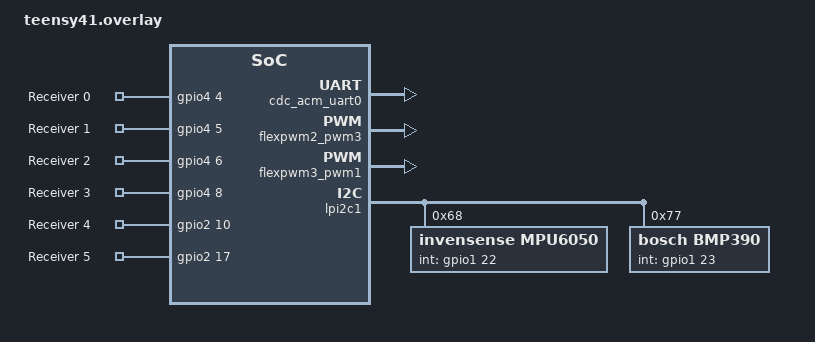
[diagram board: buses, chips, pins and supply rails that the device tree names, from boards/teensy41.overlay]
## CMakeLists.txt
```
# SPDX-License-Identifier: Apache-2.0

cmake_minimum_required(VERSION 3.20.0)

find_package(Zephyr REQUIRED HINTS $ENV{ZEPHYR_BASE})
project(flysky_fs16x_rc)

include(${ZEPHYR_BASE}/samples/subsys/usb/common/common.cmake)

#FILE(GLOB app_sources src/*.c)

#target_sources(app PRIVATE ${app_sources})

target_include_directories(app 
	PRIVATE 
		../../ext/ZephyrMPU6050/src
)

target_sources(app 
	PRIVATE 
	#src/test_pwm_loopback.c
		src/blinky.c
		#src/receiver.cpp
		src/flysky_fs16x.cpp
		src/main.cpp
		../../ext/ZephyrMPU6050/src/console.cpp
)
```

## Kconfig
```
# Copyright (c) 2023 Nordic Semiconductor ASA
# SPDX-License-Identifier: Apache-2.0

# Source common USB sample options used to initialize new experimental USB
# device stack. The scope of these options is limited to USB samples in project
# tree, you cannot use them in your own application.
#source "samples/subsys/usb/common/Kconfig.sample_usbd"


config TEENSY41
	bool "If you're using a Teensy 4.1"
	default n

source "Kconfig.zephyr"
```

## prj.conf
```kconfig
#CONFIG_ZTEST=y
#CONFIG_TEST_USERSPACE=y
CONFIG_CPP=y

CONFIG_TIMING_FUNCTIONS=y
CONFIG_CBPRINTF_FP_SUPPORT=y
CONFIG_ASSERT=y
#CONFIG_PWM=y
CONFIG_GPIO=y
#CONFIG_PWM_CAPTURE=y
```

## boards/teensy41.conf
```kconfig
CONFIG_USB_DEVICE_STACK=y
CONFIG_USB_DEVICE_PRODUCT="Zephyr USB console sample"
CONFIG_USB_DEVICE_PID=0x0004
CONFIG_USB_DEVICE_INITIALIZE_AT_BOOT=n

CONFIG_UART_LINE_CTRL=y

CONFIG_TEENSY41=y
```

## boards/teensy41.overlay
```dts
/ {
	aliases {
		receiver0 = &receiver0;
		receiver1 = &receiver1;
		receiver2 = &receiver2;
		receiver3 = &receiver3;
		receiver4 = &receiver4;
		receiver5 = &receiver5;
/*
		receiver6 = &receiver6;
		receiver7 = &receiver7;
		receiver8 = &receiver8;
		receiver9 = &receiver9;
//*/
//		gnss = &gnss;
	};

	chosen {
		zephyr,console = &cdc_acm_uart0;
	};
	
	receiver {
		compatible = "gpio-keys";
		

		receiver0: receiver_0 {
			gpios = <&gpio4 4 GPIO_ACTIVE_HIGH>; // pin 2
			label = "Receiver 0";
		};

		receiver1: receiver_1 {
			gpios = <&gpio4 5 GPIO_ACTIVE_HIGH>; // pin 3
			label = "Receiver 1";
		};

		receiver2: receiver_2 {
			gpios = <&gpio4 6 GPIO_ACTIVE_HIGH>; // pin 4
			label = "Receiver 2";
		};

		receiver3: receiver_3 {
			gpios = <&gpio4 8 GPIO_ACTIVE_HIGH>; // pin 5
			label = "Receiver 3";
		};

		receiver4: receiver_4 {
			gpios = <&gpio2 10 GPIO_ACTIVE_HIGH>; // pin 6
			label = "Receiver 4";
		};

		receiver5: receiver_5 {
			gpios = <&gpio2 17 GPIO_ACTIVE_HIGH>; // pin 7
			label = "Receiver 5";
		};

/*
		receiver6: receiver_6 {
		/delete-node/ lpuart4;
			gpios = <&gpio2 16 GPIO_ACTIVE_HIGH>; // pin 8
			label = "Receiver 6";
		};

		receiver7: receiver_7 {
			gpios = <&gpio2 11 GPIO_ACTIVE_HIGH>; // pin 9
			label = "Receiver 7";
		};
		
		receiver8: receiver_8 {
			gpios = <&gpio2 0 GPIO_ACTIVE_HIGH>; // pin 10
			label = "Receiver 8";
		};
		
		receiver9: receiver_9 {
			gpios = <&gpio2 2 GPIO_ACTIVE_HIGH>; // pin 11
			label = "Receiver 9";
		};
//*/
	};

	servos {
		servo0: servo_0 {
			compatible = "pwm-servo";
			pwms = <&flexpwm2_pwm3 0 PWM_MSEC(20) PWM_POLARITY_NORMAL>;
			min-pulse = <PWM_USEC(700)>;
			max-pulse = <PWM_USEC(9000)>;
		};

		servo1: servo_1 {
			compatible = "pwm-servo";
			pwms = <&flexpwm2_pwm3 1 PWM_MSEC(20) PWM_POLARITY_NORMAL>;
			min-pulse = <PWM_USEC(700)>;
			max-pulse = <PWM_USEC(9000)>;
		};

		servo2: servo_2 {
			compatible = "pwm-servo";
			pwms = <&flexpwm3_pwm1 1 PWM_MSEC(20) PWM_POLARITY_NORMAL>; 
			min-pulse = <PWM_USEC(700)>;
			max-pulse = <PWM_USEC(9000)>;
		};

		servo3: servo_3 {
			compatible = "pwm-servo";
			pwms = <&flexpwm3_pwm1 0 PWM_MSEC(20) PWM_POLARITY_NORMAL>;
			min-pulse = <PWM_USEC(700)>;
			max-pulse = <PWM_USEC(9000)>;
		};
	};
};

&zephyr_udc0 {
	cdc_acm_uart0: cdc_acm_uart0 {
		compatible = "zephyr,cdc-acm-uart";
	};
};

&pinctrl {
	pinmux_flexpwm3_ch1: pinmux_flexpwm3_ch1 {
		group0 {
			pinmux = <&iomuxc_gpio_emc_32_flexpwm3_pwmb1>, 
							 <&iomuxc_gpio_emc_31_flexpwm3_pwma1>;
			drive-strength = "r0-7";
			slew-rate = "fast";
			nxp,speed = "200-mhz";
		};
	};
	pinmux_flexpwm2_ch3: pinmux_flexpwm2_ch3 {
		group0 {
			pinmux = <&iomuxc_gpio_b1_02_flexpwm2_pwma3>,
							 <&iomuxc_gpio_b1_03_flexpwm2_pwmb3>;
			drive-strength = "r0-7";
			slew-rate = "fast";
			nxp,speed = "200-mhz";
		};
	};
};

&flexpwm2_pwm3 {
	status = "okay";
	pinctrl-0 = <&pinmux_flexpwm2_ch3>;
	pinctrl-names = "default";
	nxp,prescaler = <64>;
};

&flexpwm3_pwm1 {
	status = "okay";
	pinctrl-0 = <&pinmux_flexpwm3_ch1>;
	pinctrl-names = "default";
	nxp,prescaler = <64>;
};

/*
&lpuart8 {
  status = "okay";
  current-speed = <115200>;
  pinctrl-0 = <&pinmux_lpuart8>;
  pinctrl-1 = <&pinmux_lpuart8_sleep>;
  pinctrl-names = "default", "sleep";

  gnss: u_blox_m10 {
    status = "okay";
    compatible = "u-blox,m8";
    uart-baudrate = <115200>;
  };
};

&lpuart8 {
	status = "okay";
	current-speed = <115200>;

	gnss: u-blox,m8 {
		status = "okay";
		compatible = "u-blox,m8";
		uart-baudrate = <115200>;
	};
};
//*/

&lpi2c1 {
	status = "okay";
	mpu6050@68 {
		compatible = "invensense,mpu6050";
		reg = <0x68>;
		status = "okay";
		int-gpios = <&gpio1 22 GPIO_ACTIVE_HIGH>;
	};
	
	bmp390@77 {
		compatible = "bosch,bmp390";
		reg = <0x77>;
		status = "okay";
		int-gpios = <&gpio1 23 GPIO_ACTIVE_HIGH>;
		odr = "200";
		osr-press = <1>;
		osr-temp = <1>;
		iir-filter = <3>;

		label = "BMP390";
	};
};
```

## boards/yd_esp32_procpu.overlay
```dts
/w2	q*
 * Copyright (c) 2021 Espressif Systems (Shanghai) Co., Ltd.
 *
 * SPDX-License-Identifier: Apache-2.0
 */

#include <zephyr/dt-bindings/pwm/pwm.h>

/ {
	pwm_loopback_0 {
		compatible = "test-pwm-loopback";
		/* first index must be a 32-Bit timer */
		pwms = <&mcpwm0 0 0 PWM_POLARITY_NORMAL>,
		       <&mcpwm0 6 0 PWM_POLARITY_NORMAL>;
	};
};

&pinctrl {
	mcpwm0_default: mcpwm0_default {
		group1 {
			pinmux = <MCPWM0_OUT0A_GPIO2>;
			output-enable;
		};
		group2 {
			pinmux = <MCPWM0_CAP0_GPIO4>;
		};
	};
};

&mcpwm0 {
	pinctrl-0 = <&mcpwm0_default>;
	pinctrl-names = "default";
	prescale = <255>;
	prescale-timer0 = <103>;
	status = "okay";
};
```

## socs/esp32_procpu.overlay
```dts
/*
 * Copyright (c) 2021 Espressif Systems (Shanghai) Co., Ltd.
 *
 * SPDX-License-Identifier: Apache-2.0
 */

#include <zephyr/dt-bindings/pwm/pwm.h>
#include <dt-bindings/pinctrl/esp32-pinctrl.h>

/ {
	aliases {
		led0 = &led0;
		receiver0 = &receiver0;
		receiver1 = &receiver1;
		receiver2 = &receiver2;
		receiver3 = &receiver3;
		receiver4 = &receiver4;
		receiver5 = &receiver5;
	};

	pwm_loopback_0 {
		compatible = "test-pwm-loopback";
		/* first index must be a 32-Bit timer */
		pwms = <&mcpwm0 0 0 PWM_POLARITY_NORMAL>,
		       <&mcpwm0 6 0 PWM_POLARITY_NORMAL>;
	};

	leds {
		compatible = "gpio-leds";
		led0: led_0 {
			gpios = <&gpio0 2 GPIO_ACTIVE_HIGH>;
			//gpios = <&gpio0 15 GPIO_ACTIVE_HIGH>;
			label = "LED 0";
		};
	};

	receiver {
		compatible = "gpio-keys";

		receiver0: receiver_0 {
			gpios = <&gpio1 7 GPIO_ACTIVE_HIGH>; // pin 39
      zephyr,code = <INPUT_KEY_0>;
			label = "Receiver 0";
		};

		receiver1: receiver_1 {
			gpios = <&gpio1 3 GPIO_ACTIVE_HIGH>; // pint 35
      zephyr,code = <INPUT_KEY_1>;
			label = "Receiver 1";
		};

		receiver2: receiver_2 {
			gpios = <&gpio1 2  GPIO_ACTIVE_HIGH>; // pin 34
      zephyr,code = <INPUT_KEY_2>;
			label = "Receiver 2";
		};

		receiver3: receiver_3 {
			gpios = <&gpio1 4 GPIO_ACTIVE_HIGH>; // pin 36
      zephyr,code = <INPUT_KEY_3>;
			label = "Receiver 3";
		};

		receiver4: receiver_4 {
			gpios = <&gpio1 0 GPIO_ACTIVE_HIGH>; // pin 32
      zephyr,code = <INPUT_KEY_4>;
			label = "Receiver 3";
		};

		receiver5: receiver_5 {
			gpios = <&gpio1 1 GPIO_ACTIVE_HIGH>; // pin 33
      zephyr,code = <INPUT_KEY_5>;
			label = "Receiver 3";
		};
	};
};

&pinctrl {
	mcpwm0_default: mcpwm0_default {
		group1 {
			pinmux = <MCPWM0_OUT0A_GPIO2>;
			input-enable;
		};
		group2 {
			pinmux = <MCPWM0_CAP0_GPIO36>;
			//pinmux = <MCPWM0_CAP0_GPIO2>;
			output-enable;
		};
	};
};

&mcpwm0 {
	pinctrl-0 = <&mcpwm0_default>;
	pinctrl-names = "default";
	prescale = <255>;
	prescale-timer0 = <103>;
	status = "okay";
};
```

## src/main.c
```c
/*
 * Copyright (c) 2020-2021 Vestas Wind Systems A/S
 *
 * SPDX-License-Identifier: Apache-2.0
 */

#include <zephyr/kernel.h>
//#include <zephyr/ztest.h>

#include "flysky_fs16x_rc.h"
#include "blinky.h"

static void *pwm_loopback_setup(void)
{
	struct test_pwm in;
	struct test_pwm out;

	get_test_pwms(&out, &in);

	k_msleep(3000);
	printf("\n");
	
	k_object_access_grant(out.dev, k_current_get());
	k_object_access_grant(in.dev, k_current_get());

	return NULL;
}

static void pwm_loopback_after(void *f)
{
	struct test_pwm in;
	struct test_pwm out;
	int err;

	ARG_UNUSED(f);

	get_test_pwms(&out, &in);

	err = pwm_disable_capture(in.dev, in.pwm);
//	zassert_equal(err, 0, "failed to disable pwm capture (err %d)", err);
}

int main()
{
	pwm_loopback_setup();
//	receiverInit();
//	gpioInit();
	
	printf("flysky\n");

	//sample_flysky();
//*
	while(1)
	{
		sample_flysky();
		//printPulse();
		//printf(".");

		k_msleep(50);
	}
//*/

	pwm_loopback_after(NULL);
}

//ZTEST_SUITE(pwm_loopback, NULL, pwm_loopback_setup, NULL, pwm_loopback_after, NULL);
```

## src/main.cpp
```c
/*
 * Copyright (c) 2020-2021 Vestas Wind Systems A/S
 *
 * SPDX-License-Identifier: Apache-2.0
 */

#include <zephyr/kernel.h>
#include "blinky.h"
#include "flysky_fs16x.h"

#ifdef CONFIG_TEENSY41
#include "console.h"
#endif

int main()
{
#ifdef CONFIG_TEENSY41
	startConsole();
#endif

	printf("flysky\n");
	
	FlySky flysky = FlySky();

	for(uint64_t i = 0;;++i)
	{
		if(i % 20 == 0)
		{
			printf("\n*%llu*", i/20);
		}
		
		flysky.printPulses();

		k_msleep(50);
	}

	return 0;
}
```

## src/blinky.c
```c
#include "blinky.h"

static const struct gpio_dt_spec led = GPIO_DT_SPEC_GET(LED0_NODE, gpios);
int blinky(void)
{
  int ret;
	bool led_state = true;

	if (!gpio_is_ready_dt(&led)) 
  {
		return 0;
	}

	ret = gpio_pin_configure_dt(&led, GPIO_OUTPUT_ACTIVE);
	if (ret < 0) 
  {
		return 1;
	}

  while (1) 
  {
    ret = gpio_pin_toggle_dt(&led);
    if (ret < 0) 
    {
      return 1;
    }

    led_state = !led_state;
    //printk("LED state: %s\n", led_state ? "ON" : "OFF");
    k_msleep(SLEEP_TIME_MS);
  }
}

void blinky_entry(void *unused0, void *unused1, void *unused2)
{
  (void) unused0;
  (void) unused1;
  (void) unused2;

  if(blinky())
  {
    printk("ERROR: blinky thread exited!");
  }
}

K_THREAD_STACK_DEFINE(blinky_stack_area, BLINKY_STACK_SIZE);
K_THREAD_DEFINE(
  blinky_tid, BLINKY_STACK_SIZE,
  blinky_entry, NULL, NULL, NULL,
  BLINKY_PRIORITY, 0, 0
);

int startBlinkyThread(void)
{
  k_thread_start(blinky_tid);

  return 0;
}
```

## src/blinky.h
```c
#ifndef BLINKY_H
#define BLINKY_H

#pragma once
#ifdef __cplusplus
extern "C"
{
#endif

#include <stdio.h>
#include <zephyr/kernel.h>
#include <zephyr/drivers/gpio.h>

#define BLINKY_STACK_SIZE 500
#define BLINKY_PRIORITY 5

/* 1000 msec = 1 sec */
#define SLEEP_TIME_MS   1000

#define LED0_NODE DT_ALIAS(led0)

extern void blinky_entry(void *, void *, void *);
extern int startBlinkyThread(void);

#ifdef __cplusplus
}
#endif

#endif // BLINKY_H
```

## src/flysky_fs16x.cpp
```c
#include "flysky_fs16x.h"
#include <string.h>

// Reciever

Receiver::Receiver(
		const gpio_dt_spec receiver,
		void (*receiver_isr)(const device *, gpio_callback *, uint32_t)
	) :
		receiver(receiver),
		receiver_data({0}),
		pulse_time_us(0),
		start_time(0),
		stop_time(0)
{
	k_mutex_init(&receiver_mutex);
	
	int ret = 0;

	ret = gpio_is_ready_dt(&receiver);
	__ASSERT(ret != 0, "Error: device %s is not ready\n", receiver.port->name);

	ret = gpio_pin_configure_dt(&receiver, GPIO_INPUT);
	__ASSERT(ret == 0, "Error %d: failed to configure %s pin %d\n", 
				ret, receiver.port->name, receiver.pin);

	ret = gpio_pin_interrupt_configure_dt(&receiver, GPIO_INT_EDGE_BOTH);
	__ASSERT(ret == 0, "Error %d: failed to configure interrupt %s pin %d\n", 
					ret, receiver.port->name, receiver.pin);
	
	gpio_init_callback(&receiver_data, receiver_isr, BIT(receiver.pin));
	gpio_add_callback(receiver.port, &receiver_data);
	
	timing_init();
	timing_start();
}

Receiver::~Receiver()
{

}

void Receiver::printPulse(void)
{
	uint64_t time_us = getMutexPulseTime();

	printf("\n(%llu)\n", time_us);
}

const gpio_dt_spec *Receiver::getReceiver(void)
{

	return &receiver;
}

uint64_t Receiver::getMutexPulseTime(void)
{
	k_mutex_lock(&receiver_mutex, K_FOREVER);
	uint64_t time_us = pulse_time_us;
	k_mutex_unlock(&receiver_mutex);

	return time_us;
}

uint64_t Receiver::getPulseTime(void)
{
	return pulse_time_us;
}

void Receiver::setPulseTimeIsr(uint64_t time_us)
{
	pulse_time_us = time_us;
}

int Receiver::handleIsr(void)
{
	int pin_state = gpio_pin_get_dt(getReceiver());
	
	switch(pin_state)
	{
		case 0:
			{
				stop_time = timing_counter_get();
				uint64_t total_cycles = timing_cycles_get(&start_time, &stop_time);
				uint64_t total_ns = timing_cycles_to_ns(total_cycles);
				setPulseTimeIsr(total_ns/1000);
			}
			break;
		case 1:
				start_time = timing_counter_get();
			
			break;
		default:

			break;
	}

	return 0;
}

// FlySky

FlySky *FlySky::pThis = NULL;
flysky_data_t FlySky::flysky_data = {0};

FlySky::FlySky() :
	throttle(
		Receiver(
			GPIO_DT_SPEC_GET_OR(THROTTLE_NODE, gpios, {0}),
			&FlySky::throttle_isr
		)
	),
	roll(
		Receiver(
			GPIO_DT_SPEC_GET_OR(ROLL_NODE, gpios, {0}),
			&FlySky::roll_isr
		)
	),
	pitch(
		Receiver(
			GPIO_DT_SPEC_GET_OR(PITCH_NODE, gpios, {0}),
			&FlySky::pitch_isr
		)
	),
	yaw(
		Receiver(
			GPIO_DT_SPEC_GET_OR(YAW_NODE, gpios, {0}),
			&FlySky::yaw_isr
		)
	),
	vra(
		Receiver(
			GPIO_DT_SPEC_GET_OR(VRA_NODE, gpios, {0}),
			&FlySky::vra_isr
		)
	),
	vrb(
		Receiver(
			GPIO_DT_SPEC_GET_OR(VRB_NODE, gpios, {0}),
			&FlySky::vrb_isr
		)
	) /*,
	r6(
		Receiver(
			GPIO_DT_SPEC_GET_OR(R6_NODE, gpios, {0}),
			&FlySky::r6_isr
		)
	),
	r7(
		Receiver(
			GPIO_DT_SPEC_GET_OR(R7_NODE, gpios, {0}),
			&FlySky::r7_isr
		)
	),
	r8(
		Receiver(
			GPIO_DT_SPEC_GET_OR(R8_NODE, gpios, {0}),
			&FlySky::r8_isr
		)
	),
	r9(
		Receiver(
			GPIO_DT_SPEC_GET_OR(R9_NODE, gpios, {0}),
			&FlySky::r9_isr
		)
	)
//*/
{
	pThis = this; 

	k_mutex_init(&flysky_mutex);
}

FlySky::~FlySky()
{

}

void FlySky::capturePulses(flysky_data_t *pflysky_data)
{
	k_mutex_lock(&flysky_mutex, K_FOREVER);
	pflysky_data->throttle_pulse_time_us = throttle.getPulseTime();
	pflysky_data->roll_pulse_time_us = roll.getPulseTime();
	pflysky_data->pitch_pulse_time_us = pitch.getPulseTime();
	pflysky_data->yaw_pulse_time_us = yaw.getPulseTime();
	pflysky_data->vra_pulse_time_us = vra.getPulseTime();
	pflysky_data->vrb_pulse_time_us = vrb.getPulseTime();
/*
	pflysky_data->r6_pulse_time_us = r6.getPulseTime();
	pflysky_data->r7_pulse_time_us = r7.getPulseTime();
	pflysky_data->r8_pulse_time_us = r8.getPulseTime();
	pflysky_data->r9_pulse_time_us = r9.getPulseTime();
//*/
	k_mutex_unlock(&flysky_mutex);
}

void FlySky::printPulses(void)
{
	flysky_data_t temp_flysky_data = {0};
	capturePulses(&temp_flysky_data);
	printPulses(&temp_flysky_data);
}

void FlySky::printPulses(flysky_data_t *pflysky_data)
{
	printf(
		"\n(T: %4llu)(Y: %4llu)(P: %4llu)(R: %4llu)(A: %4llu)(B: %4llu)", //(0: %4llu)", // (0: %4llu)(0: %4llu)(0: %4llu)", 
		pflysky_data->throttle_pulse_time_us, 
		pflysky_data->yaw_pulse_time_us,
		pflysky_data->pitch_pulse_time_us,
		pflysky_data->roll_pulse_time_us,
		pflysky_data->vra_pulse_time_us,
		pflysky_data->vrb_pulse_time_us/*,
		pflysky_data->r6_pulse_time_us,
		pflysky_data->r7_pulse_time_us,
		pflysky_data->r8_pulse_time_us,
		pflysky_data->r9_pulse_time_us
//*/
	);
}

Receiver *FlySky::getThrottle(void)
{
	return &throttle;
}

Receiver *FlySky::getRoll(void)
{
	return &roll;
}

Receiver *FlySky::getPitch(void)
{
	return &pitch;
}

Receiver *FlySky::getYaw(void)
{
	return &yaw;
}

Receiver *FlySky::getVrA(void)
{
	return &vra;
}

Receiver *FlySky::getVrB(void)
{
	return &vrb;
}

/*
Receiver *FlySky::getR6(void)
{
	return &r6;
}

Receiver *FlySky::getR7(void)
{
	return &r7;
}

Receiver *FlySky::getR8(void)
{
	return &r8;
}

Receiver *FlySky::getR9(void)
{
	return &r9;
}
//*/

void FlySky::throttle_isr(const struct device *dev, struct gpio_callback *cb, uint32_t pins)
{
	pThis->getThrottle()->handleIsr();
}

void FlySky::roll_isr(const struct device *dev, struct gpio_callback *cb, uint32_t pins)
{
	pThis->getRoll()->handleIsr();
}

void FlySky::pitch_isr(const struct device *dev, struct gpio_callback *cb, uint32_t pins)
{
	pThis->getPitch()->handleIsr();
}

void FlySky::yaw_isr(const struct device *dev, struct gpio_callback *cb, uint32_t pins)
{
	pThis->getYaw()->handleIsr();
}

void FlySky::vra_isr(const struct device *dev, struct gpio_callback *cb, uint32_t pins)
{
	pThis->getVrA()->handleIsr();
}

void FlySky::vrb_isr(const struct device *dev, struct gpio_callback *cb, uint32_t pins)
{
	pThis->getVrB()->handleIsr();
}

/*
void FlySky::r6_isr(const struct device *dev, struct gpio_callback *cb, uint32_t pins)
{
	pThis->getR6()->handleIsr();
}

void FlySky::r7_isr(const struct device *dev, struct gpio_callback *cb, uint32_t pins)
{
	pThis->getR7()->handleIsr();
}

void FlySky::r8_isr(const struct device *dev, struct gpio_callback *cb, uint32_t pins)
{
	pThis->getR8()->handleIsr();
}

void FlySky::r9_isr(const struct device *dev, struct gpio_callback *cb, uint32_t pins)
{
	pThis->getR9()->handleIsr();
}
//*/
```

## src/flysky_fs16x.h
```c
#ifndef _FLYSKY_FS16X_H_
#define _FLYSKY_FS16X_H_

#include <zephyr/kernel.h>
#include <zephyr/drivers/gpio.h>
#include <zephyr/drivers/pwm.h>
#include <zephyr/timing/timing.h>

#define ROLL_NODE					DT_ALIAS(receiver0)
#define PITCH_NODE				DT_ALIAS(receiver1) 
#define THROTTLE_NODE			DT_ALIAS(receiver2)
#define YAW_NODE					DT_ALIAS(receiver3)  
#define VRA_NODE					DT_ALIAS(receiver4)
#define VRB_NODE					DT_ALIAS(receiver5)
/*
#define R6_NODE						DT_ALIAS(receiver6)
#define R7_NODE						DT_ALIAS(receiver7)
#define R8_NODE						DT_ALIAS(receiver8)
#define R9_NODE						DT_ALIAS(receiver9)
//*/
#define LED0_NODE					DT_ALIAS(led0)

typedef void receiver_isr_t(const struct device *, struct gpio_callback *, uint32_t);

class Receiver
{
	public:
		Receiver(
			const gpio_dt_spec, 
			void (*)(const device *, gpio_callback *, uint32_t)
		);
		~Receiver();

		void printPulse(void);
		
		const gpio_dt_spec *getReceiver(void);
		uint64_t getMutexPulseTime(void);
		uint64_t getPulseTime(void);
		
		void setPulseTimeIsr(uint64_t);
		int handleIsr(void);
	private:
		const gpio_dt_spec receiver;
		gpio_callback receiver_data;
		uint64_t pulse_time_us;
		timing_t start_time;
		timing_t stop_time;

		k_mutex receiver_mutex;
};

struct flysky_data_t
{
	uint64_t throttle_pulse_time_us;
	uint64_t roll_pulse_time_us;
	uint64_t pitch_pulse_time_us;
	uint64_t yaw_pulse_time_us;
	uint64_t vra_pulse_time_us;
	uint64_t vrb_pulse_time_us;
/*
	uint64_t r6_pulse_time_us;
	uint64_t r7_pulse_time_us;
	uint64_t r8_pulse_time_us;
	uint64_t r9_pulse_time_us;
//*/
};

class FlySky {
	public:
		FlySky();
		~FlySky();

		void printPulses(void);
		void printPulses(flysky_data_t *);
		void capturePulses(flysky_data_t *);
		
		Receiver *getThrottle(void);
		Receiver *getRoll(void);
		Receiver *getPitch(void);
		Receiver *getYaw(void);
		Receiver *getVrA(void);
		Receiver *getVrB(void);
/*
		Receiver *getR6(void);
		Receiver *getR7(void);
		Receiver *getR8(void);
		Receiver *getR9(void);
//*/
	private:
		Receiver throttle;
		Receiver roll;
		Receiver pitch;
		Receiver yaw;
		Receiver vra;
		Receiver vrb;
/*
		Receiver r6;
		Receiver r7;
		Receiver r8;
		Receiver r9;
//*/

		static FlySky *pThis;
		static flysky_data_t flysky_data;
		static receiver_isr_t throttle_isr;
		static receiver_isr_t roll_isr;
		static receiver_isr_t pitch_isr;
		static receiver_isr_t yaw_isr;
		static receiver_isr_t vra_isr;
		static receiver_isr_t vrb_isr;
/*
		static receiver_isr_t r6_isr;
		static receiver_isr_t r7_isr;
		static receiver_isr_t r8_isr;
		static receiver_isr_t r9_isr;
//*/
		
		k_mutex flysky_mutex;
};

#endif
```

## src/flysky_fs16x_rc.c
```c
/*
 * Copyright (c) 2020-2021 Vestas Wind Systems A/S
 *
 * SPDX-License-Identifier: Apache-2.0
 */

#include "flysky_fs16x_rc.h"
#include <string.h>
//#include <zephyr/kernel.h>
//#include <zephyr/drivers/gpio.h>
//#include <zephyr/drivers/pwm.h>
//#include <zephyr/ztest.h>


#define TEST_PWM_PERIOD_NSEC 100000000
#define TEST_PWM_PULSE_NSEC   15000000
#define TEST_PWM_PERIOD_USEC    100000
#define TEST_PWM_PULSE_USEC      75000

#define RECEIVER_NODE	DT_ALIAS(receiver0) //

static struct gpio_callback receiver_data = {0};
static uint64_t time_us = 0; 
static const struct gpio_dt_spec receiver = GPIO_DT_SPEC_GET_OR(RECEIVER_NODE, gpios, {0});

K_MUTEX_DEFINE(time_mutex);

enum test_pwm_unit {
	TEST_PWM_UNIT_NSEC,
	TEST_PWM_UNIT_USEC,
};

void get_test_pwms(struct test_pwm *out, struct test_pwm *in)
{
	/* PWM generator device */
	out->dev = DEVICE_DT_GET(PWM_LOOPBACK_OUT_CTLR);
	out->pwm = PWM_LOOPBACK_OUT_CHANNEL;
	out->flags = PWM_LOOPBACK_OUT_FLAGS;
//	zassert_true(device_is_ready(out->dev), "pwm loopback output device is not ready");

	/* PWM capture device */
	in->dev = DEVICE_DT_GET(PWM_LOOPBACK_IN_CTLR);
	in->pwm = PWM_LOOPBACK_IN_CHANNEL;
	in->flags = PWM_LOOPBACK_IN_FLAGS;
//	zassert_true(device_is_ready(in->dev), "pwm loopback input device is not ready");
}

static void capture(uint32_t period, uint32_t pulse, enum test_pwm_unit unit, pwm_flags_t flags)
{
	struct test_pwm in;
	struct test_pwm out;
	uint64_t period_capture = 0;
	uint64_t pulse_capture = 0;
	int err = 0;

	get_test_pwms(&out, &in);

	err = pwm_set(out.dev, out.pwm, 
					PWM_USEC(period), PWM_USEC(pulse), 
					out.flags ^= (flags & PWM_POLARITY_MASK));
	
	err = pwm_capture_usec(in.dev, in.pwm, flags, &period_capture,
						 &pulse_capture, K_USEC(period * 10));

	pwm_disable_capture(in.dev, in.pwm);

	if (err == -ENOTSUP) {
//		TC_PRINT("capture type not supported\n");
//		ztest_test_skip();
	}

//	zassert_equal(err, 0, "failed to capture pwm (err %d)", err);

	if (flags & PWM_CAPTURE_TYPE_PERIOD) {
//		zassert_within(period_capture, period, period / 100,
//			       "period capture off by more than 1%");
	}

	if (flags & PWM_CAPTURE_TYPE_PULSE) {
//		zassert_within(pulse_capture, pulse, pulse / 100,
//			       "pulse capture off by more than 1%");
	}
	printf("(%llu) ", pulse_capture);
	//time_us = pulse_capture; 
}
//*/

void printPulse(void)
{
	k_mutex_lock(&time_mutex, K_FOREVER);
	printf("(%llu) ", time_us);
	k_mutex_unlock(&time_mutex);
}

//*
int sample_flysky(void)
{
	capture(TEST_PWM_PERIOD_USEC, TEST_PWM_PULSE_USEC,
		     TEST_PWM_UNIT_USEC, PWM_CAPTURE_TYPE_PULSE | PWM_POLARITY_NORMAL);
	return 0;
}
//*/

static struct test_context {
	uint32_t last_edge_time;
	uint32_t high_time;
	uint32_t low_time;
	bool sampling_done;
	uint8_t skip_cnt;
} ctx;

static void setup_edge_detect(void)
{
	ctx.last_edge_time = 0;
	ctx.high_time = 0;
	ctx.low_time = 0;
	ctx.sampling_done = false;
	ctx.skip_cnt = 0;
}

//*
static void receiver_cb(const struct device *dev, struct gpio_callback *cb, uint32_t pins)
{
//	printf(".");
///*
	uint32_t start_time = k_cycle_get_32();
	
	while(gpio_pin_get_dt(&receiver) > 0)
	{

	}

	uint32_t end_time = k_cycle_get_32();
	time_us = end_time - start_time;
//*/
}
//*/

/*
static void receiver_cb(const struct device *dev, struct gpio_callback *cb, uint32_t pins)
{
//	printf(".");
//
//capture(TEST_PWM_PERIOD_USEC, TEST_PWM_PULSE_USEC,
//	     TEST_PWM_UNIT_USEC, PWM_CAPTURE_TYPE_PULSE | PWM_POLARITY_NORMAL);
//
	int pin_state;
	uint32_t current_time = k_cycle_get_32();

	//if (ctx.sampling_done || ++ctx.skip_cnt < CONFIG_SKIP_EDGE_NUM) {
	if (ctx.sampling_done || ++ctx.skip_cnt < 2) {
		return;
	}

	if (!ctx.last_edge_time) {
		// init last_edge_time for first delta 
		ctx.last_edge_time = current_time;
		return;
	}

	uint32_t elapsed_time = current_time - ctx.last_edge_time;

	int pin = __builtin_ffs(pins) - 1;

	if (pin >= 0) {
		pin_state = gpio_pin_get(dev, pin);
	} else {
		return;
	}

	if (pin_state) {
		ctx.low_time = elapsed_time;
	} else {
		ctx.high_time = elapsed_time;
		time_us = ctx.high_time; 
	}

	// sampling is done when both high and low times were stored 
	if (ctx.high_time && ctx.low_time) {
		ctx.sampling_done = true;
	}

	ctx.last_edge_time = current_time;
	
}
//*/

static void config_gpio(const struct gpio_dt_spec *gpio_dt)
{
	/* Configure GPIO pin for edge detection */
	gpio_pin_configure_dt(gpio_dt, GPIO_INPUT);

	receiver_data.pin_mask = BIT(gpio_dt->pin);

	gpio_init_callback(&receiver_data, receiver_cb, receiver_data.pin_mask);
	gpio_add_callback(gpio_dt->port, &receiver_data);
	gpio_pin_interrupt_configure(gpio_dt->port, gpio_dt->pin, GPIO_INT_EDGE_RISING);
//	gpio_pin_interrupt_configure(gpio_dt->port, gpio_dt->pin, GPIO_INT_EDGE_BOTH);
}

void gpioInit(void)
{
	config_gpio(&receiver);
	setup_edge_detect();

	/* wait for sampling */
	k_sleep(K_MSEC(2000));
}

//*
int setupReceiver(
		const struct gpio_dt_spec *preceiver, 
		struct gpio_callback *preceiver_data, 
		gpio_callback_handler_t receiver_cb
	)
{
	int ret;
	
	while (!gpio_is_ready_dt(preceiver)) {
		printk("Error: device %s is not ready\n", preceiver->port->name);
		k_msleep(1000);
	}

	ret = gpio_pin_configure_dt(preceiver, GPIO_INPUT);
	if (ret != 0) {
		printk("Error %d: failed to configure %s pin %d\n", 
						ret, preceiver->port->name, preceiver->pin
		);
	}

	ret = gpio_pin_interrupt_configure_dt(preceiver, GPIO_INT_EDGE_BOTH);
	//ret = gpio_pin_interrupt_configure_dt(preceiver, GPIO_INT_EDGE_RISING);
	//ret = gpio_pin_interrupt_configure_dt(preceiver, GPIO_INT_EDGE_TO_ACTIVE);
	if (ret != 0) {
		printk("Error %d: failed to configure interrupt %s pin %d\n", 
						ret, preceiver->port->name, preceiver->pin);
	}
	
	gpio_init_callback(preceiver_data, receiver_cb, BIT(preceiver->pin));
	gpio_add_callback(preceiver->port, preceiver_data);

	return 0;
}
//*/

//*
void receiverInit()
{
	setupReceiver(&receiver, &receiver_data, receiver_cb);
}
//*/

/*
static void test_capture(uint32_t period, uint32_t pulse, enum test_pwm_unit unit,
		  pwm_flags_t flags)
{
	struct test_pwm in;
	struct test_pwm out;
	uint64_t period_capture = 0;
	uint64_t pulse_capture = 0;
	int err = 0;

	get_test_pwms(&out, &in);

	switch (unit) {
	case TEST_PWM_UNIT_NSEC:
//	TC_PRINT("Testing PWM capture @ %u/%u nsec\n",
//		 pulse, period);
		err = pwm_set(out.dev, out.pwm, period, pulse, out.flags ^=
			      (flags & PWM_POLARITY_MASK));
		break;

	case TEST_PWM_UNIT_USEC:
//	TC_PRINT("Testing PWM capture @ %u/%u usec\n",
//		 pulse, period);
		err = pwm_set(out.dev, out.pwm, PWM_USEC(period),
			      PWM_USEC(pulse), out.flags ^=
			      (flags & PWM_POLARITY_MASK));
		break;

	default:
//	TC_PRINT("Unsupported test unit");
//	ztest_test_fail();
	}

//	zassert_equal(err, 0, "failed to set pwm output (err %d)", err);

	switch (unit) {
	case TEST_PWM_UNIT_NSEC:
		err = pwm_capture_nsec(in.dev, in.pwm, flags, &period_capture,
				       &pulse_capture, K_NSEC(period * 10));
		break;

	case TEST_PWM_UNIT_USEC:
		err = pwm_capture_usec(in.dev, in.pwm, flags, &period_capture,
				       &pulse_capture, K_USEC(period * 10));
		break;

	default:
//	TC_PRINT("Unsupported test unit");
//	ztest_test_fail();
	}

	pwm_disable_capture(in.dev, in.pwm);

	if (err == -ENOTSUP) {
//		TC_PRINT("capture type not supported\n");
//		ztest_test_skip();
	}

//	zassert_equal(err, 0, "failed to capture pwm (err %d)", err);

	if (flags & PWM_CAPTURE_TYPE_PERIOD) {
//		zassert_within(period_capture, period, period / 100,
//			       "period capture off by more than 1%");
	}

	if (flags & PWM_CAPTURE_TYPE_PULSE) {
//		zassert_within(pulse_capture, pulse, pulse / 100,
//			       "pulse capture off by more than 1%");
	}
	printf("(%llu) ", pulse_capture);
}
//*/

/*
static void continuous_capture_callback(const struct device *dev,
					uint32_t pwm,
					uint32_t period_cycles,
					uint32_t pulse_cycles,
					int status,
					void *user_data)
{
	struct test_pwm_callback_data *data = user_data;

	if (data->count > data->buffer_len) {
		// Safe guard in case capture is not disabled 
		return;
	}

	if (status != 0) {
		// Error occurred 
		data->status = status;
		k_sem_give(&data->sem);
	}

	if (data->pulse_capture) {
		data->buffer[data->count++] = pulse_cycles;
	} else {
		data->buffer[data->count++] = period_cycles;
	}

	if (data->count > data->buffer_len) {
		data->status = 0;
		k_sem_give(&data->sem);
	}
}
//*/

//static void test_capture(uint32_t period, uint32_t pulse, enum test_pwm_unit unit,
//		  pwm_flags_t flags)

/*
int sample_flysky(void)
{
	struct test_pwm in;
	struct test_pwm out;
	uint64_t period_capture = 0;
	uint64_t pulse_capture = 0;
	int err = 0;
	uint32_t period = TEST_PWM_PERIOD_NSEC;
	uint32_t pulse = TEST_PWM_PULSE_NSEC;

	pwm_flags_t flags = PWM_CAPTURE_TYPE_PULSE | PWM_POLARITY_NORMAL;

	get_test_pwms(&out, &in);

	err = pwm_set(out.dev, out.pwm, PWM_USEC(period),
			      PWM_USEC(pulse), out.flags ^=
			      (flags & PWM_POLARITY_MASK));

	err = pwm_capture_usec(in.dev, in.pwm, flags, &period_capture,
					 &pulse_capture, K_USEC(period * 10));
	
	pwm_disable_capture(in.dev, in.pwm);

	printf("(%llu) ", pulse_capture);
	
	return 0;
}
//*/

/*
int sample_flysky(void)
{
	struct test_pwm in;
	struct test_pwm out;
	uint32_t buffer[10];
	struct test_pwm_callback_data data = {
		.buffer = buffer,
		.buffer_len = ARRAY_SIZE(buffer),
		.count = 0,
		.pulse_capture = true,
	};
	uint64_t usec = 0;
	int err;
	int i;

	get_test_pwms(&out, &in);

	memset(buffer, 0, sizeof(buffer));
	k_sem_init(&data.sem, 0, 1);

	err = pwm_set(out.dev, out.pwm, PWM_USEC(TEST_PWM_PERIOD_USEC),
		      PWM_USEC(TEST_PWM_PULSE_USEC), out.flags);
//	zassert_equal(err, 0, "failed to set pwm output (err %d)", err);

	err = pwm_configure_capture(in.dev, in.pwm,
				    in.flags |
				    PWM_CAPTURE_MODE_CONTINUOUS |
				    PWM_CAPTURE_TYPE_PULSE,
				    continuous_capture_callback, &data);
//	while(1)
//	{
		printf("\n");
		err = pwm_enable_capture(in.dev, in.pwm);
//		zassert_equal(err, 0, "failed to enable pwm capture (err %d)", err);

		err = k_sem_take(&data.sem, K_USEC(TEST_PWM_PERIOD_USEC * data.buffer_len * 10));
//		zassert_equal(err, 0, "pwm capture timed out (err %d)", err);
//		zassert_equal(data.status, 0, "pwm capture failed (err %d)", err);

		err = pwm_disable_capture(in.dev, in.pwm);
//		zassert_equal(err, 0, "failed to disable pwm capture (err %d)", err);

		for (i = 0; i < data.buffer_len; i++) {
			err = pwm_cycles_to_usec(in.dev, in.pwm, buffer[i], &usec);
//			zassert_equal(err, 0, "failed to calculate usec (err %d)", err);
			printf("%llu ", usec);
		}
//	}
	
	printf("\n");
}
//*/
```

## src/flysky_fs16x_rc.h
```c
#ifndef _FLYSKY_FS16X_RC_H_
#define _FLYSKY_FS16X_RC_H_

#include <zephyr/kernel.h>
#include <zephyr/drivers/gpio.h>
#include <zephyr/drivers/pwm.h>
//#include <zephyr/ztest.h>

#define PWM_LOOPBACK_OUT_IDX 0
#define PWM_LOOPBACK_IN_IDX  1

#define PWM_LOOPBACK_NODE DT_INST(0, test_pwm_loopback)

#define PWM_LOOPBACK_OUT_CTLR \
	DT_PWMS_CTLR_BY_IDX(PWM_LOOPBACK_NODE, PWM_LOOPBACK_OUT_IDX)
#define PWM_LOOPBACK_OUT_CHANNEL \
	DT_PWMS_CHANNEL_BY_IDX(PWM_LOOPBACK_NODE, PWM_LOOPBACK_OUT_IDX)
#define PWM_LOOPBACK_OUT_FLAGS \
	DT_PWMS_FLAGS_BY_IDX(PWM_LOOPBACK_NODE, PWM_LOOPBACK_OUT_IDX)

#define PWM_LOOPBACK_IN_CTLR \
	DT_PWMS_CTLR_BY_IDX(PWM_LOOPBACK_NODE, PWM_LOOPBACK_IN_IDX)
#define PWM_LOOPBACK_IN_CHANNEL \
	DT_PWMS_CHANNEL_BY_IDX(PWM_LOOPBACK_NODE, PWM_LOOPBACK_IN_IDX)
#define PWM_LOOPBACK_IN_FLAGS \
	DT_PWMS_FLAGS_BY_IDX(PWM_LOOPBACK_NODE, PWM_LOOPBACK_IN_IDX)

struct test_pwm {
	const struct device *dev;
	uint32_t pwm;
	pwm_flags_t flags;
};

struct test_pwm_callback_data {
	uint32_t *buffer;
	size_t buffer_len;
	size_t count;
	int status;
	struct k_sem sem;
	bool pulse_capture;
};

void get_test_pwms(struct test_pwm *out, struct test_pwm *in);
int sample_flysky(void);
void receiverInit(void);
void printPulse(void);
void gpioInit(void);
#endif
```

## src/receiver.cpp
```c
#include "flysky_fs16x.h"
#include <string.h>

// Reciever

static Receiver *pReceiver = NULL;

struct gpio_callback Receiver::receiver_data = {0};

uint64_t Receiver::pulse_time_us = 0;

Receiver::Receiver(const gpio_dt_spec receiver) :
	receiver(receiver)
{
	k_mutex_init(&time_mutex);

	pReceiver = this;

	int ret = 0;

	ret = gpio_is_ready_dt(&receiver);
	__ASSERT(ret != 0, "Error: device %s is not ready\n", receiver.port->name);

	ret = gpio_pin_configure_dt(&receiver, GPIO_INPUT);
	__ASSERT(ret == 0, "Error %d: failed to configure %s pin %d\n", 
					ret, receiver.port->name, receiver.pin);

	ret = gpio_pin_interrupt_configure_dt(&receiver, GPIO_INT_EDGE_BOTH);
	__ASSERT(ret == 0, "Error %d: failed to configure interrupt %s pin %d\n", 
					ret, receiver.port->name, receiver.pin);
	
	gpio_init_callback(&receiver_data, receiver_cb, BIT(receiver.pin));
	gpio_add_callback(receiver.port, &receiver_data);
	
	timing_init();
	timing_start();
}

Receiver::~Receiver()
{

}

/*
void Receiver::setFlySky(FlySky *pFlySky)
{
	this->pFlySky = pFlySky;	
}
//*/

void Receiver::printPulse(void)
{
	uint64_t time_us = getPulseTime();

	printf("\n(%llu)\n", time_us);
}

uint64_t Receiver::getPulseTime(void)
{
	k_mutex_lock(&time_mutex, K_FOREVER);
	uint64_t time_us = pulse_time_us;
	k_mutex_unlock(&time_mutex);

	return time_us;
}

void Receiver::setPulseTime(uint64_t time_us)
{
	k_mutex_lock(&time_mutex, K_FOREVER);
	pulse_time_us = time_us;
	k_mutex_unlock(&time_mutex);
}

timing_t cb_start_time, cb_stop_time;
uint64_t cb_total_cycles;
uint64_t cb_total_ns;
uint64_t cb_count = 0;

void Receiver::receiver_cb(const struct device *dev, struct gpio_callback *cb, uint32_t pins)
{
	//printf(".");
	//pReceiver->getPulse();
	int pin_state = gpio_pin_get_dt(&pReceiver->receiver);
	
	switch(pin_state)
	{
		case 0:
				cb_stop_time = timing_counter_get();
				cb_total_cycles = timing_cycles_get(&cb_start_time, &cb_stop_time);
				cb_total_ns = timing_cycles_to_ns(cb_total_cycles);
				pReceiver->pulse_time_us = cb_total_ns/1000;
			break;
		case 1:
				cb_start_time = timing_counter_get();
			
			break;
		default:

			break;
	}
}


FlySky::FlySky() :
	receiver(
		Receiver(GPIO_DT_SPEC_GET_OR(RECEIVER_NODE, gpios, {0}))
	),
	pwm_out{
		DEVICE_DT_GET(PWM_LOOPBACK_OUT_CTLR),
		PWM_LOOPBACK_OUT_CHANNEL,
		PWM_LOOPBACK_OUT_FLAGS
	}
{
	//receiver.setFlySky(this); // 0_o
	
	//startPwm();
	
	receiver.startReceiverThread();
}

FlySky::~FlySky()
{

}

int FlySky::startPwm(void)
{
	uint32_t period = TEST_PWM_PERIOD_USEC;
	uint32_t pulse = TEST_PWM_PULSE_USEC;
	pwm_flags_t flags = PWM_CAPTURE_TYPE_PULSE | PWM_POLARITY_NORMAL;

	int err = pwm_set(
				pwm_out.dev, pwm_out.pwm, 
				PWM_USEC(period), 
				PWM_USEC(pulse), 
				pwm_out.flags ^= (flags & PWM_POLARITY_MASK)
			);

	return err;
}

int FlySky::sampleFlysky(void)
{

	return 0;
}

void FlySky::printPulse(void)
{
	receiver.printPulse();
}

/*
int Receiver::work(void)
{
  int ret = 0;
	
	timing_t start_time, end_time;
	uint64_t total_cycles;
	uint64_t total_ns;

	start_time = timing_counter_get();
  while (1) 
  {
		//pReceiver->getPulse();
    k_msleep(100);
		
		end_time = timing_counter_get();
		total_cycles = timing_cycles_get(&start_time, &end_time);
		start_time = end_time;
		total_ns = timing_cycles_to_ns(total_cycles);
   	//printf("\n[%llu]\n", total_ns/1000);
		//k_usleep(1);
    //k_msleep(SLEEP_TIME_MS);
  }

	return ret;
}

void Receiver::receiver_entry(void *unused0, void *unused1, void *unused2)
{
  (void) unused0;
  (void) unused1;
  (void) unused2;

  if(work())
  {
    printk("ERROR: receiver thread exited!");
  }
}

K_THREAD_STACK_DEFINE(receiver_stack_area, RECEIVER_STACK_SIZE);
K_THREAD_DEFINE(
  receiver_tid, RECEIVER_STACK_SIZE,
  Receiver::receiver_entry, NULL, NULL, NULL,
  RECEIVER_PRIORITY, 0, 0
);

int Receiver::startReceiverThread(void)
{
  k_thread_start(receiver_tid);

  return 0;
}
//*/
```

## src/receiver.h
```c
#ifndef _RECEIVER_H_
#define _RECEIVER_H_

#include <zephyr/kernel.h>
#include <zephyr/drivers/gpio.h>
#include <zephyr/drivers/pwm.h>
#include <zephyr/timing/timing.h>
//#include <zephyr/ztest.h>

#define PWM_LOOPBACK_OUT_IDX 0
#define PWM_LOOPBACK_IN_IDX  1

#define PWM_LOOPBACK_NODE DT_INST(0, test_pwm_loopback)
#define RECEIVER_NODE	DT_ALIAS(receiver0)

#define PWM_LOOPBACK_OUT_CTLR \
	DT_PWMS_CTLR_BY_IDX(PWM_LOOPBACK_NODE, PWM_LOOPBACK_OUT_IDX)
#define PWM_LOOPBACK_OUT_CHANNEL \
	DT_PWMS_CHANNEL_BY_IDX(PWM_LOOPBACK_NODE, PWM_LOOPBACK_OUT_IDX)
#define PWM_LOOPBACK_OUT_FLAGS \
	DT_PWMS_FLAGS_BY_IDX(PWM_LOOPBACK_NODE, PWM_LOOPBACK_OUT_IDX)

#define PWM_LOOPBACK_IN_CTLR \
	DT_PWMS_CTLR_BY_IDX(PWM_LOOPBACK_NODE, PWM_LOOPBACK_IN_IDX)
#define PWM_LOOPBACK_IN_CHANNEL \
	DT_PWMS_CHANNEL_BY_IDX(PWM_LOOPBACK_NODE, PWM_LOOPBACK_IN_IDX)
#define PWM_LOOPBACK_IN_FLAGS \
	DT_PWMS_FLAGS_BY_IDX(PWM_LOOPBACK_NODE, PWM_LOOPBACK_IN_IDX)

#define TEST_PWM_PERIOD_NSEC 100000000
#define TEST_PWM_PULSE_NSEC   15000000
//*
#define TEST_PWM_PERIOD_USEC      2000
#define TEST_PWM_PULSE_USEC       1000
//*/
/*
#define TEST_PWM_PERIOD_USEC    100000
#define TEST_PWM_PULSE_USEC      75000
//*/

#define RECEIVER_STACK_SIZE 500
#define RECEIVER_PRIORITY 5

#define LED0_NODE DT_ALIAS(led0)

struct pwm_t {
	const device *dev;
	uint32_t pwm;
	pwm_flags_t flags;
};

//class FlySky;

class Receiver
{
	public:
		Receiver(const gpio_dt_spec);
		~Receiver();

		//void setFlySky(FlySky *);

		void printPulse(void);
		static void receiver_entry(void *, void *, void *);
		int startReceiverThread(void);
	private:
		//FlySky *pFlySky;
		k_mutex time_mutex;
		static uint64_t pulse_time_us;
		uint64_t getPulseTime(void);
		void setPulseTime(uint64_t);
		
		const gpio_dt_spec receiver;
		static gpio_callback receiver_data;
		static void receiver_cb(const device *, gpio_callback *cb, uint32_t);

		static int work(void);
};

#endif
```

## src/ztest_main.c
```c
/*
 * Copyright (c) 2020-2021 Vestas Wind Systems A/S
 *
 * SPDX-License-Identifier: Apache-2.0
 */

#include <zephyr/kernel.h>
#include <zephyr/ztest.h>

#include "test_pwm_loopback.h"
#include "blinky.h"

static void *pwm_loopback_setup(void)
{
	struct test_pwm in;
	struct test_pwm out;

	get_test_pwms(&out, &in);

	k_msleep(3000);
	printf("\n");
	
	k_object_access_grant(out.dev, k_current_get());
	k_object_access_grant(in.dev, k_current_get());

	return NULL;
}

static void pwm_loopback_after(void *f)
{
	struct test_pwm in;
	struct test_pwm out;
	int err;

	ARG_UNUSED(f);

	get_test_pwms(&out, &in);

	err = pwm_disable_capture(in.dev, in.pwm);
	zassert_equal(err, 0, "failed to disable pwm capture (err %d)", err);
}

ZTEST_SUITE(pwm_loopback, NULL, pwm_loopback_setup, NULL, pwm_loopback_after, NULL);
```
